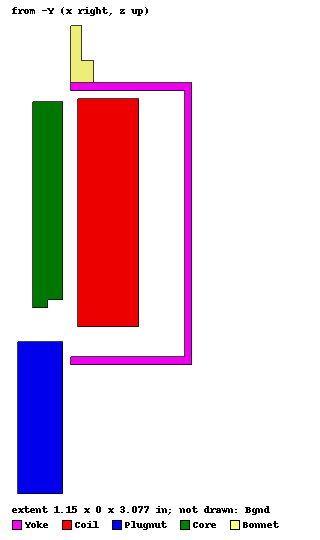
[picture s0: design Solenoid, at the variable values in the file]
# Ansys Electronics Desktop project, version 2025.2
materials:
  vacuum: permittivity=1
  copper: permeability=0.999991 conductivity=58000000
  ColdRolledSteel: permeability{HUnit=A_per_meter BUnit=tesla curve (0, 0) (1080, 0.858) (1480, 1.06) (2090, 1.26) (3120, 1.44) (5160, 1.61) (9930, 1.77) (15500, 1.86) (25000, 1.88) (35000, 1.9)}
  Neo35: permeability=1.05 magnetic_coercivity{Magnitude=-947350.85A_per_meter DirComp1=1 DirComp2=0 DirComp3=0}
  SS430: permeability{HUnit=A_per_meter BUnit=tesla curve (0, 0) (143, 0.125) (180, 0.206) (219, 0.394) (259, 0.589) (298, 0.743) (338, 0.853) (378, 0.932) (438, 1.01) (517, 1.08) (597, 1.11) (716, 1.16) (955, 1.2) (1590, 1.27) (3980, 1.37) (6370, 1.43) (11900, 1.49) (23900, 1.55) (39800, 1.59) (76900, 1.645)}

design Solenoid (Maxwell 2D, Magnetostatic, about Z geometry, model units in)
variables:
  deltaGap = 0in
  curr = 10000A
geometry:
  Plugnut [SS430] = rectangle(corner=(0in, 0in, -0.2in), z_size=-1in, x_size=0.3in)
  coordinate_system RelativeCS1 = origin=(0in, 0in, 0in) x=(0in, 0in, 4in) y=(0in, 1in, 0in)
  Core [Neo35, oriented by RelativeCS1] = polyline(y=0in, xz in in: (0.1, 1.175) (0.1, -0.175) (0.2, -0.175) (0.2, -0.125) (0.3, -0.125) (0.3, 1.175) (0.1, 1.175), closed, covered)
  Coil [copper] = rectangle(corner=(0.4in, 0in, 0.7in), z_size=-1.5in, x_size=0.4in)
  Yoke [ColdRolledSteel] = polyline(y=0in, xz in in: (0.35, -1.05) (1.15, -1.05) (1.15, 0.8) (0.35, 0.8) (0.35, 0.75) (1.1, 0.75) (1.1, -1) (0.35, -1) (0.35, -1.05), closed, covered)
  Bonnet [ColdRolledSteel] = polyline(y=0in, xz in in: (0.35, 0.8) (0.5, 0.8) (0.5, 0.95) (0.425, 0.95) (0.425, 1.177) (0.35, 1.177) (0.35, 0.8), closed, covered)
  Bgnd [vacuum] = rectangle(corner=(0in, 0in, -2in), z_size=4in, x_size=2in)
  Core.move(0in, 0in, deltaGap)
  Plugnut.move(0in, 0in, -0.7in)
  Core.move(0in, 0in, -0.5in)
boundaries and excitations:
  Balloon1: Balloon Edges=Bgnd.edge(at (1, 0, 2), at (2, 0, 0), at (1, 0, -2))
  Current1: Current Objects=Coil Current=10000 IsPositive=true
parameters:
  Force1: Force Reference_CS=Global Objects=Core
  Matrix1: Matrix Current1: NumberOfTurns=1
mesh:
  initial mesh: GlobalSurfApproximation{CurvedSurfaceApproxChoice=UseSlider SliderMeshSettings=1}
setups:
  Setup1: Magnetostatic MaximumPasses=14 MinimumPasses=2 MinimumConvergedPasses=1 PercentRefinement=30 PercentError=1 NonLinearResidual=0.0001
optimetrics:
  ParametricSetup1: Parametric Sim._Setups=[Setup1]
    sweep deltaGap: LIN 0in 0.5in 0.05in
    sweep curr: LINC 0A 1500A 11
    table edits: edit(0in, 0A, 0in, -1A) edit(0.05in, 0A, 0.05in, -1A) edit(0.1in, 0A, 0.1in, -1A) edit(0.15in, 0A, 0.15in, -1A) edit(0.2in, 0A, 0.2in, -1A) edit(0.25in, 0A, 0.25in, -1A) edit(0.3in, 0A, 0.3in, -1A) edit(0.35in, 0A, 0.35in, -1A) edit(0.4in, 0A, 0.4in, -1A) edit(0.45in, 0A, 0.45in, -1A) edit(0.5in, 0A, 0.5in, -1A)
    calculate Force1.Force_z on Setup1 : LastAdaptive
    calculate Matrix1.L(Current1,Current1) on Setup1 : LastAdaptive
